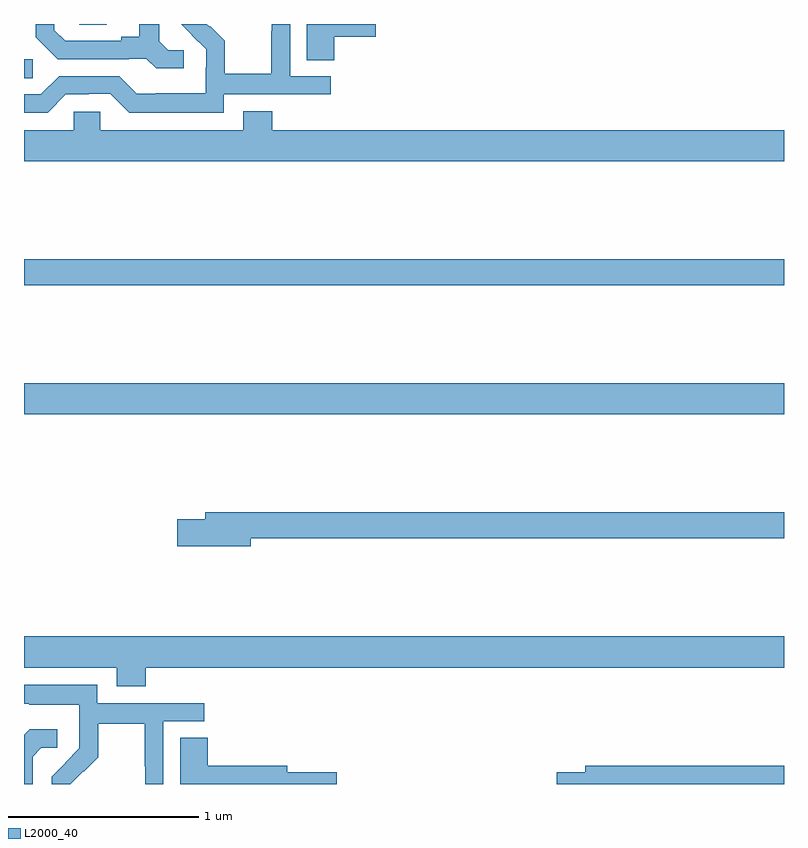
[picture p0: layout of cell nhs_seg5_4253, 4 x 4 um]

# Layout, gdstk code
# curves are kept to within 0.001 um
import gdstk
lib = gdstk.Library(unit=1e-6, precision=1e-09)
def R(c, l, rs):  # rectangles x0, y0, x1, y1
    for r in rs: c.add(gdstk.rectangle(r[:2], r[2:], *l))
def P(c, l, *ps):  # polygons
    for p in ps: c.add(gdstk.Polygon(p, *l))
L2000_40 = (2000, 40)

nhs_seg5_4253 = lib.new_cell('nhs_seg5_4253')
R(nhs_seg5_4253, L2000_40, [(361,872.744,365,872.908), (361,873.424,365,873.56), (361,874.513,361.045,874.614), (361.29,874.795,361.435,874.799)])
P(nhs_seg5_4253, L2000_40, [(361.84,874.662),(361.758,874.662),(361.711,874.709),(361.711,874.799),(361.607,874.799),(361.607,874.733),(361.511,874.733),(361.511,874.71),(361.216,874.71),(361.159,874.767),(361.159,874.799),(361.062,874.799),(361.062,874.73),(361.178,874.614),(361.55,874.614),(361.55,874.617),(361.644,874.617),(361.696,874.565),(361.84,874.565)],
  [(362.633,874.733),(362.851,874.733),(362.851,874.799),(362.489,874.799),(362.489,874.609),(362.633,874.609)],
  [(362.052,874.428),(362.614,874.428),(362.614,874.524),(362.4,874.524),(362.4,874.799),(362.304,874.799),(362.304,874.76),(362.302,874.76),(362.302,874.537),(362.057,874.537),(362.057,874.711),(361.98,874.788),(361.977,874.785),(361.963,874.799),(361.827,874.799),(361.958,874.666),(361.958,874.569),(361.956,874.569),(361.956,874.435),(361.693,874.435),(361.693,874.431),(361.593,874.431),(361.5,874.524),(361.185,874.524),(361.089,874.428),(361,874.428),(361,874.332),(361.125,874.332),(361.221,874.428),(361.34,874.428),(361.34,874.431),(361.455,874.431),(361.555,874.331),(362.052,874.331)],
  [(365,874.24),(362.306,874.24),(362.306,874.339),(362.153,874.339),(362.153,874.24),(361.401,874.24),(361.401,874.338),(361.263,874.338),(361.263,874.24),(361,874.24),(361,874.076),(365,874.076)],
  [(362.194,872.092),(365,872.092),(365,872.228),(361.955,872.228),(361.955,872.192),(361.806,872.192),(361.806,872.05),(362.194,872.05)],
  [(361.64,871.412),(365,871.412),(365,871.576),(361,871.576),(361,871.412),(361.487,871.412),(361.487,871.313),(361.64,871.313)],
  [(361.311,870.867),(361.314,870.864),(361.391,870.941),(361.391,871.116),(361.636,871.116),(361.636,870.892),(361.638,870.892),(361.638,870.799),(361.734,870.799),(361.734,871.128),(361.948,871.128),(361.948,871.224),(361.386,871.224),(361.386,871.321),(361,871.321),(361,871.221),(361.027,871.221),(361.027,871.217),(361.29,871.217),(361.29,871.083),(361.292,871.083),(361.292,870.986),(361.146,870.838),(361.146,870.799),(361.243,870.799)],
  [(361.045,870.943),(361.092,870.99),(361.174,870.99),(361.174,871.087),(361.03,871.087),(361,871.057),(361,870.799),(361.045,870.799)],
  [(362.647,870.86),(362.386,870.86),(362.386,870.896),(361.967,870.896),(361.967,871.043),(361.823,871.043),(361.823,870.799),(362.647,870.799)],
  [(365,870.896),(363.953,870.896),(363.953,870.86),(363.804,870.86),(363.804,870.799),(365,870.799)])

lib.write_gds('nhs_seg5_4253.gds')
